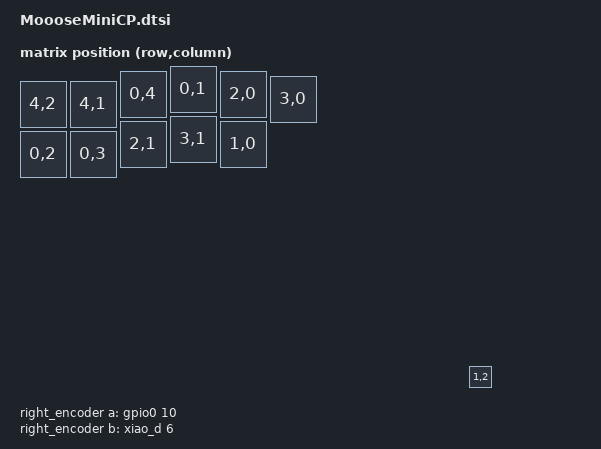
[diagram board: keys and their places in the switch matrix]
#include <dt-bindings/zmk/matrix_transform.h>
#include <dt-bindings/input/input-event-codes.h>
#include <dt-bindings/zmk/input_transform.h>
#include <input/processors.dtsi>
#include <physical_layouts.dtsi>

#define ARROW 1
#define NUM 2
#define AHK 3
#define FUNCTION 4
#define TRACKBALL_L 5
#define SCROLL_L 6

&gpio0 {
    status = "okay";
};

/ {
    chosen {
        zmk,physical-layout = &MoooseMiniCP_physical_layout;
    };

    MoooseMiniCP_physical_layout: MoooseMiniCP_physical_layout {
        compatible = "zmk,physical-layout";
        display-name = "Default";
        transform = <&default_transform>;
        kscan = <&kscan0>;

        keys  //                     w   h    x    y     rot    rx    ry
            = <&key_physical_attrs 100 100    0   30       0     0     0>
            , <&key_physical_attrs 100 100  100   30       0     0     0>
            , <&key_physical_attrs 100 100  200   10       0     0     0>
            , <&key_physical_attrs 100 100  300    0       0     0     0>
            , <&key_physical_attrs 100 100  400   10       0     0     0>
            , <&key_physical_attrs 100 100  500   20       0     0     0>
            , <&key_physical_attrs  50  50  900  600       0     0     0>
            , <&key_physical_attrs 100 100    0  130       0     0     0>
            , <&key_physical_attrs 100 100  100  130       0     0     0>
            , <&key_physical_attrs 100 100  200  110       0     0     0>
            , <&key_physical_attrs 100 100  300  100       0     0     0>
            , <&key_physical_attrs 100 100  400  110       0     0     0>
            ;
    };

    kscan0: kscan_0 {
        compatible = "zmk,kscan-gpio-charlieplex";
        interrupt-gpios = <&xiao_d 1 (GPIO_ACTIVE_HIGH | GPIO_PULL_DOWN)>;
        gpios
            = <&xiao_d 9 GPIO_ACTIVE_HIGH>
            , <&xiao_d 8 GPIO_ACTIVE_HIGH>
            , <&xiao_d 2 GPIO_ACTIVE_HIGH>
            , <&xiao_d 3 GPIO_ACTIVE_HIGH>
            , <&xiao_d 7 GPIO_ACTIVE_HIGH>
            ;
    };

    trackball_listener {
        compatible = "zmk,input-listener";
        device = <&trackball>;

        snipe_1 {
            layers = <ARROW>;
            input-processors = <&zip_xy_scaler 1 3>;
        };
        snipe_2 {
            layers = <NUM>;
            input-processors = <&zip_xy_scaler 1 3>;
        };
        scroller_1 {
            layers = <AHK>;
            input-processors = <&zip_xy_transform INPUT_TRANSFORM_Y_INVERT>,  <&zip_xy_scaler 1 30 >, <&zip_xy_to_scroll_mapper>;
        };
        scroller_2 {
            layers = <FUNCTION>;
            input-processors = <&zip_xy_transform INPUT_TRANSFORM_Y_INVERT>,  <&zip_xy_scaler 1 30 >, <&zip_xy_to_scroll_mapper>;
        };

    };


    default_transform: keymap_transform_0 {
        compatible = "zmk,matrix-transform";
        rows = <4>;
        columns = <5>;
        map = <
            RC(4,2)          RC(4,1) RC(0,4) RC(0,1)
            RC(2,0)  RC(3,0) RC(1,2) RC(0,2) RC(0,3)
            RC(2,1)  RC(3,1) RC(1,0)
        >;
    };

    right_encoder: encoder_right {
        compatible = "alps,ec11";
        a-gpios = <&gpio0 10 (GPIO_ACTIVE_HIGH | GPIO_PULL_UP)>;
        b-gpios = <&xiao_d 6 (GPIO_ACTIVE_HIGH | GPIO_PULL_UP)>;
        steps = <20>;
        status = "disabled";
    };

    sensors: sensors {
        compatible = "zmk,keymap-sensors";
        sensors = <&right_encoder>;
        triggers-per-rotation = <12>;
    };
};

&xiao_i2c { status = "disabled"; };
&xiao_serial { status = "disabled"; };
